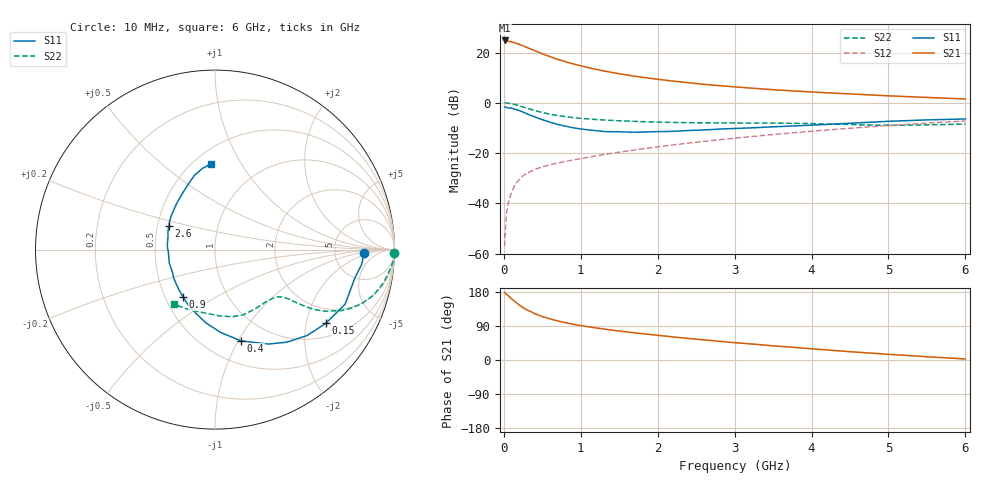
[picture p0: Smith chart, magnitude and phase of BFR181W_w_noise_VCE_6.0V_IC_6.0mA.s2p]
! Infineon Technologies  Discrete & RF Semiconductors
! BFR181W
! VCE =  6.0 V,  IC =  6.0 mA
! Common Emitter S-Parameters:  Jan 2017
# GHz  S  MA  R  50
!  f  S11  S21  S12  S22
! GHz  MAG  ANG  MAG  ANG  MAG  ANG  MAG  ANG
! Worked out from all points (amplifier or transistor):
!   77 points, 10 MHz to 6 GHz, reference 50 ohm
!   highest |S21| = 24.8 dB at 10 MHz (marker M1)
!   |S21| within 3 dB of that: start of sweep to 316.2 MHz
!   unconditionally stable (mu >= 1): 1.26 GHz to 3.279 GHz
!   at 130 MHz: K = 0.19, MSG = 28.8 dB, |S12| = -33.6 dB
!   at 2.2 GHz: K = 1.07, MAG = 11.1 dB, |S12| = -16.8 dB
!   at 6 GHz: K = 0.85, MSG = 4.4 dB, |S12| = -7.2 dB
!   lowest NFmin = 1.03 dB at 450 MHz
!   S11 on the Smith chart (normalised r, x): 10 MHz: 11, -1; 150 MHz: 1.43, -2.61; 400 MHz: 0.73, -1.03; 900 MHz: 0.62, -0.36; 2.6 GHz: 0.57, +0.16; 6 GHz: 0.60, +0.75
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0.01  0.8308 -1.4  17.45 178.6  0.0014 84.7  0.9973 -1.1
0.02  0.8207 -5.9  17.34 175.8  0.0032 96.4  1 -2.2
0.04  0.8032 -9.4  17.06 172.4  0.007 85.2  0.9908 -4.5
0.1  0.7862 -22.7  16.35 161.4  0.0163 80.0  0.9569 -11.2
0.15  0.7417 -33.6  15.58 153.0  0.0241 73.1  0.9199 -16.0
0.2  0.7018 -43.0  14.6 145.1  0.0297 70.2  0.874 -20.0
0.25  0.6527 -52.2  13.65 138.2  0.0355 65.9  0.8275 -23.2
0.3  0.6046 -60.5  12.65 132.2  0.0392 63.5  0.7809 -25.8
0.4  0.5283 -74.2  10.95 122.4  0.0471 60.3  0.7039 -29.2
0.5  0.4621 -86.2  9.459 114.7  0.0529 57.9  0.6416 -31.2
0.6  0.4118 -96.9  8.303 108.4  0.0587 57.5  0.5946 -32.2
0.7  0.3718 -106.4  7.35 103.1  0.063 57.7  0.5582 -32.8
0.9  0.3192 -123.7  5.964 94.4  0.0727 58.2  0.5089 -33.6
1.1  0.2889 -138.4  5.014 87.7  0.0827 59.7  0.4776 -34.3
1.3  0.2687 -152.0  4.309 81.7  0.093 60.7  0.4557 -35.4
1.6  0.262 -168.7  3.58 74.0  0.1097 62.1  0.4341 -37.8
2.1  0.2685 169.2  2.823 63.1  0.1388 62.9  0.4102 -44.0
2.6  0.2886 153.0  2.339 53.0  0.1706 62.2  0.4 -52.0
3.1  0.3123 139.5  2.023 44.2  0.2045 60.7  0.3961 -60.0
4.1  0.3656 119.0  1.616 28.1  0.2796 55.5  0.3825 -77.3
5.1  0.4345 104.1  1.358 13.7  0.3606 47.8  0.3574 -102.1
6  0.4778 92.9  1.192 2.7  0.4356 39.6  0.3798 -126.5
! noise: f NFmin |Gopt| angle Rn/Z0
0.45  1.03  0.28  16  0.22
0.9  1.07  0.26  30  0.22
1.9  1.49  0.12  82  0.19
2.4  1.65  0.1  95  0.23
